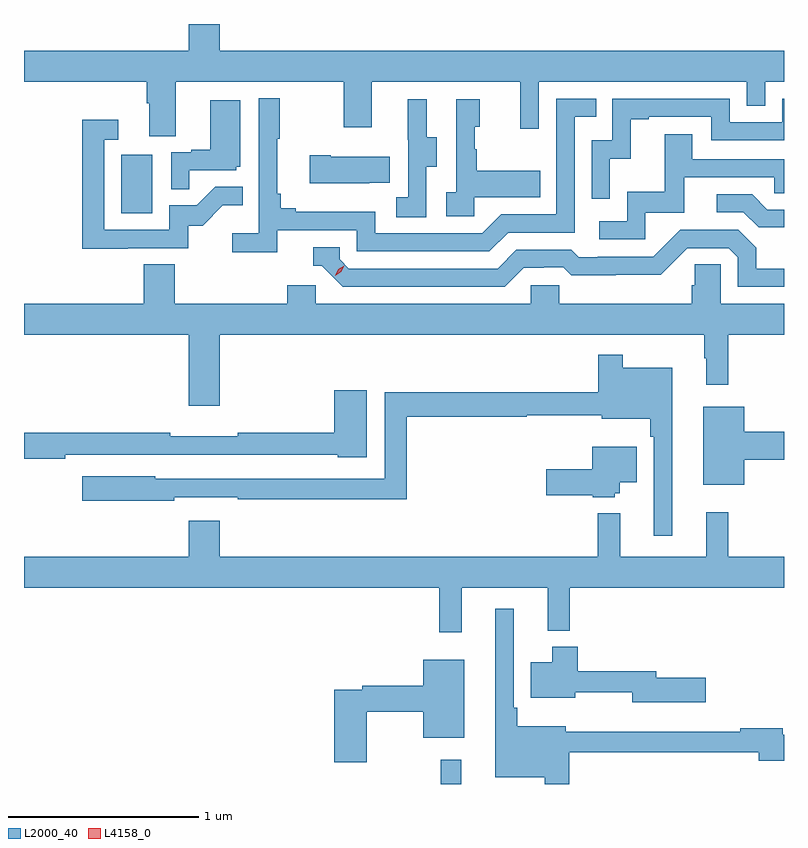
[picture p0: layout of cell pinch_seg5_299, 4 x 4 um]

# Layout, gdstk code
import gdstk
lib = gdstk.Library(unit=1e-6, precision=1e-09)
def R(c, l, rs):  # rectangles x0, y0, x1, y1
    for r in rs: c.add(gdstk.rectangle(r[:2], r[2:], *l))
def P(c, l, *ps):  # polygons
    for p in ps: c.add(gdstk.Polygon(p, *l))
L2000_40 = (2000, 40)
L4158_0 = (4158, 0)

pinch_seg5_299 = lib.new_cell('pinch_seg5_299')
R(pinch_seg5_299, L2000_40, [(921.579,885.032,921.688,885.16), (919.898,888.036,920.062,888.343)])
P(pinch_seg5_299, L2000_40, [(919.386,888.728),(920.033,888.728),(920.033,888.616),(920.045,888.616),(920.045,888.442),(920.185,888.442),(920.185,888.728),(921.07,888.728),(921.07,888.489),(921.217,888.489),(921.217,888.728),(921.998,888.728),(921.998,888.48),(922.095,888.48),(922.095,888.728),(923.19,888.728),(923.19,888.601),(923.286,888.601),(923.286,888.728),(923.386,888.728),(923.386,888.892),(920.416,888.892),(920.416,889.032),(920.252,889.032),(920.252,888.892),(919.386,888.892)],
  [(920.72,887.946),(921.138,887.946),(921.138,887.835),(921.835,887.835),(921.934,887.934),(922.284,887.934),(922.284,888.543),(922.397,888.543),(922.397,888.639),(922.188,888.639),(922.188,888.03),(921.897,888.03),(921.798,887.931),(921.234,887.931),(921.234,888.043),(920.815,888.043),(920.815,888.062),(920.738,888.062),(920.738,888.139),(920.719,888.139),(920.719,888.427),(920.731,888.427),(920.731,888.64),(920.622,888.64),(920.622,887.932),(920.481,887.932),(920.481,887.83),(920.72,887.83)],
  [(922.47,888.323),(922.58,888.323),(922.58,888.531),(922.675,888.531),(922.675,888.543),(923.004,888.543),(923.004,888.42),(923.386,888.42),(923.386,888.639),(923.376,888.639),(923.376,888.516),(923.1,888.516),(923.1,888.639),(922.482,888.639),(922.482,888.42),(922.374,888.42),(922.374,888.111),(922.47,888.111)],
  [(921.504,888.28),(921.559,888.28),(921.559,888.435),(921.505,888.435),(921.505,888.637),(921.407,888.637),(921.407,888.423),(921.408,888.423),(921.408,888.119),(921.345,888.119),(921.345,888.016),(921.504,888.016)],
  [(921.756,888.119),(922.103,888.119),(922.103,888.259),(921.769,888.259),(921.769,888.374),(921.759,888.374),(921.759,888.492),(921.784,888.492),(921.784,888.637),(921.66,888.637),(921.66,888.146),(921.609,888.146),(921.609,888.021),(921.756,888.021)],
  [(920.255,888.261),(920.502,888.261),(920.502,888.282),(920.524,888.282),(920.524,888.631),(920.366,888.631),(920.366,888.37),(920.267,888.37),(920.267,888.357),(920.16,888.357),(920.16,888.163),(920.255,888.163)],
  [(919.931,887.853),(920.25,887.853),(920.25,887.97),(920.326,887.97),(920.433,888.077),(920.537,888.077),(920.537,888.176),(920.393,888.176),(920.295,888.078),(920.151,888.078),(920.151,887.949),(919.809,887.949),(919.809,888.423),(919.882,888.423),(919.882,888.529),(919.693,888.529),(919.693,887.848),(919.931,887.848)],
  [(922.656,888.039),(922.861,888.039),(922.861,888.225),(923.335,888.225),(923.335,888.141),(923.386,888.141),(923.386,888.321),(922.903,888.321),(922.903,888.451),(922.759,888.451),(922.759,888.148),(922.56,888.148),(922.56,887.994),(922.413,887.994),(922.413,887.898),(922.656,887.898)],
  [(921.203,888.197),(921.311,888.197),(921.311,888.334),(921.001,888.334),(921.001,888.342),(920.889,888.342),(920.889,888.194),(921.203,888.194)],
  [(923.386,888.054),(923.299,888.054),(923.218,888.135),(923.031,888.135),(923.031,888.042),(923.172,888.042),(923.252,887.962),(923.386,887.962)],
  [(922.015,887.748),(922.122,887.748),(922.122,887.751),(922.225,887.751),(922.267,887.709),(922.5,887.709),(922.5,887.711),(922.736,887.711),(922.878,887.853),(923.094,887.853),(923.142,887.805),(923.142,887.649),(923.386,887.649),(923.386,887.745),(923.239,887.745),(923.239,887.855),(923.145,887.949),(922.839,887.949),(922.698,887.808),(922.405,887.808),(922.405,887.805),(922.306,887.805),(922.267,887.844),(921.978,887.844),(921.879,887.745),(921.096,887.745),(921.048,887.793),(921.048,887.856),(920.909,887.856),(920.909,887.76),(920.952,887.76),(921.063,887.649),(921.916,887.649)],
  [(920.416,887.396),(922.965,887.396),(922.965,887.273),(922.976,887.273),(922.976,887.133),(923.093,887.133),(923.093,887.396),(923.386,887.396),(923.386,887.56),(923.052,887.56),(923.052,887.768),(922.915,887.768),(922.915,887.658),(922.901,887.658),(922.901,887.56),(922.203,887.56),(922.203,887.658),(922.053,887.658),(922.053,887.56),(920.922,887.56),(920.922,887.658),(920.771,887.658),(920.771,887.56),(920.18,887.56),(920.18,887.768),(920.015,887.768),(920.015,887.56),(919.386,887.56),(919.386,887.396),(920.252,887.396),(920.252,887.022),(920.416,887.022)],
  [(922.798,887.224),(922.537,887.224),(922.537,887.29),(922.408,887.29),(922.408,887.095),(921.285,887.095),(921.285,886.638),(920.076,886.638),(920.076,886.651),(919.692,886.651),(919.692,886.522),(920.176,886.522),(920.176,886.542),(920.512,886.542),(920.512,886.53),(921.401,886.53),(921.401,886.966),(922.031,886.966),(922.031,886.974),(922.427,886.974),(922.427,886.955),(922.681,886.955),(922.681,886.859),(922.701,886.859),(922.701,886.338),(922.798,886.338)],
  [(919.604,886.764),(921.036,886.764),(921.036,886.751),(921.19,886.751),(921.19,887.104),(921.02,887.104),(921.02,886.88),(920.512,886.88),(920.512,886.861),(920.156,886.861),(920.156,886.88),(919.386,886.88),(919.386,886.744),(919.604,886.744)],
  [(923.176,886.739),(923.386,886.739),(923.386,886.886),(923.176,886.886),(923.176,887.017),(922.961,887.017),(922.961,886.607),(923.176,886.607)],
  [(922.494,886.563),(922.522,886.563),(922.522,886.619),(922.612,886.619),(922.612,886.807),(922.376,886.807),(922.376,886.689),(922.134,886.689),(922.134,886.552),(922.38,886.552),(922.38,886.541),(922.494,886.541)],
  [(920.252,886.417),(920.252,886.228),(919.386,886.228),(919.386,886.064),(921.571,886.064),(921.571,885.831),(921.689,885.831),(921.689,886.064),(922.142,886.064),(922.142,885.839),(922.259,885.839),(922.259,886.064),(923.386,886.064),(923.386,886.228),(923.093,886.228),(923.093,886.462),(922.976,886.462),(922.976,886.228),(922.523,886.228),(922.523,886.456),(922.405,886.456),(922.405,886.228),(920.416,886.228),(920.416,886.417)],
  [(922.256,885.198),(923.252,885.198),(923.252,885.155),(923.386,885.155),(923.386,885.29),(923.38,885.29),(923.38,885.326),(923.156,885.326),(923.156,885.307),(922.49,885.307),(922.49,885.308),(922.237,885.308),(922.237,885.337),(921.983,885.337),(921.983,885.433),(921.963,885.433),(921.963,885.955),(921.866,885.955),(921.866,885.068),(922.128,885.068),(922.128,885.032),(922.256,885.032)],
  [(922.975,885.591),(922.714,885.591),(922.714,885.625),(922.301,885.625),(922.301,885.754),(922.166,885.754),(922.166,885.673),(922.052,885.673),(922.052,885.485),(922.288,885.485),(922.288,885.515),(922.586,885.515),(922.586,885.461),(922.975,885.461)],
  [(921.19,885.412),(921.488,885.412),(921.488,885.275),(921.703,885.275),(921.703,885.685),(921.488,885.685),(921.488,885.548),(921.166,885.548),(921.166,885.528),(921.02,885.528),(921.02,885.147),(921.19,885.147)])
P(pinch_seg5_299, L4158_0, [(921.023,887.708),(921.023,887.708),(921.04,887.74),(921.072,887.759),(921.072,887.759),(921.072,887.759),(921.055,887.727),(921.024,887.708)])

lib.write_gds('pinch_seg5_299.gds')
